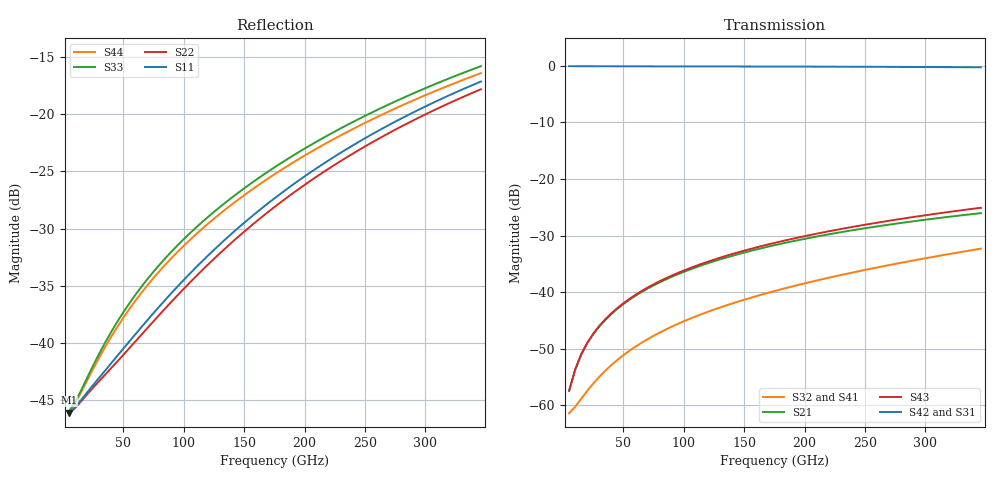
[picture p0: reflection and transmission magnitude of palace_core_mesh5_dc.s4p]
! Created with skrf 1.9.0 (http://scikit-rf.org).
# GHz S DB R 50.0
!freq dBS11 angS11 dBS12 angS12 dBS13 angS13
! dBS14 angS14
! dBS21 angS21 dBS22 angS22 dBS23 angS23
! dBS24 angS24
! dBS31 angS31 dBS32 angS32 dBS33 angS33
! dBS34 angS34
! dBS41 angS41 dBS42 angS42 dBS43 angS43
! dBS44 angS44
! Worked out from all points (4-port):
!   69 points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, 5.014 GHz to 346 GHz, reference 50 ohm
!   strongest paths, dB at 5.014 GHz, 90.26 GHz, 175.5 GHz, 260.8 GHz, 346 GHz:
!     S42: 0.0, -0.1, -0.1, -0.2, -0.2
!     S31: 0.0, -0.1, -0.1, -0.2, -0.3
!     S43: -57.4, -37.0, -31.3, -27.7, -25.1
!     S21: -57.5, -37.3, -31.7, -28.4, -26.0
!     S32: -61.4, -46.1, -39.8, -35.6, -32.3
!     S41: -61.4, -46.1, -39.8, -35.7, -32.4
!   lowest |S11| = -46.1 dB at 5.014 GHz (marker M1), VSWR 1.01, Z = 50.5 - j0.0409 ohm
!   |S11| at or under -10 dB: start of sweep to end of sweep
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5.014493  -46.10 -4.7  -57.48 43.2  -0.05 -0.7  -61.42 171.0
          -57.48 43.2  -46.15 -4.0  -61.42 171.1  -0.05 -0.7
          -0.05 -0.7  -61.42 171.1  -45.97 -4.6  -57.42 44.6
          -61.42 171.0  -0.05 -0.7  -57.42 44.6  -46.03 -3.9
15.04348  -44.98 -17.9  -51.04 62.2  -0.06 -2.1  -58.85 151.0
          -51.04 62.2  -45.10 -15.8  -58.85 151.0  -0.06 -2.1
          -0.06 -2.1  -58.85 151.0  -44.13 -16.8  -50.96 65.8
          -58.85 151.0  -0.06 -2.1  -50.96 65.8  -44.30 -15.0
30.08696  -43.02 -41.5  -46.06 66.9  -0.07 -4.2  -54.96 127.7
          -46.06 66.9  -43.31 -38.3  -54.95 127.7  -0.07 -4.1
          -0.07 -4.2  -54.95 127.7  -40.91 -33.3  -45.94 73.9
          -54.96 127.7  -0.07 -4.1  -45.94 73.9  -41.25 -31.1
55.15942  -39.83 -74.4  -41.32 66.3  -0.08 -7.5  -50.35 107.0
          -41.32 66.3  -40.42 -71.3  -50.33 107.1  -0.08 -7.5
          -0.08 -7.5  -50.33 107.1  -36.50 -47.5  -41.16 78.8
          -50.35 107.0  -0.08 -7.5  -41.16 78.8  -37.00 -45.7
90.26087  -35.58 -106.7  -37.27 60.8  -0.09 -12.3  -46.10 91.5
          -37.27 60.8  -36.34 -104.5  -46.08 91.7  -0.09 -12.2
          -0.09 -12.3  -46.08 91.7  -31.96 -55.0  -37.05 81.0
          -46.10 91.5  -0.09 -12.2  -37.05 81.0  -32.53 -53.7
205.5942  -25.03 -162.8  -30.35 34.8  -0.13 -27.9  -38.21 60.8
          -30.35 34.8  -25.77 -162.0  -38.16 61.3  -0.13 -27.6
          -0.13 -27.9  -38.16 61.3  -22.66 -62.6  -29.86 80.2
          -38.21 60.8  -0.13 -27.6  -29.86 80.2  -23.27 -62.1
346  -17.14 160.2  -26.03 -1.6  -0.26 -47.3  -32.39 28.5
     -26.03 -1.6  -17.82 161.1  -32.31 29.0  -0.25 -46.8
     -0.26 -47.3  -32.31 29.0  -15.80 -72.9  -25.08 74.9
     -32.39 28.5  -0.25 -46.8  -25.08 74.9  -16.41 -72.6
